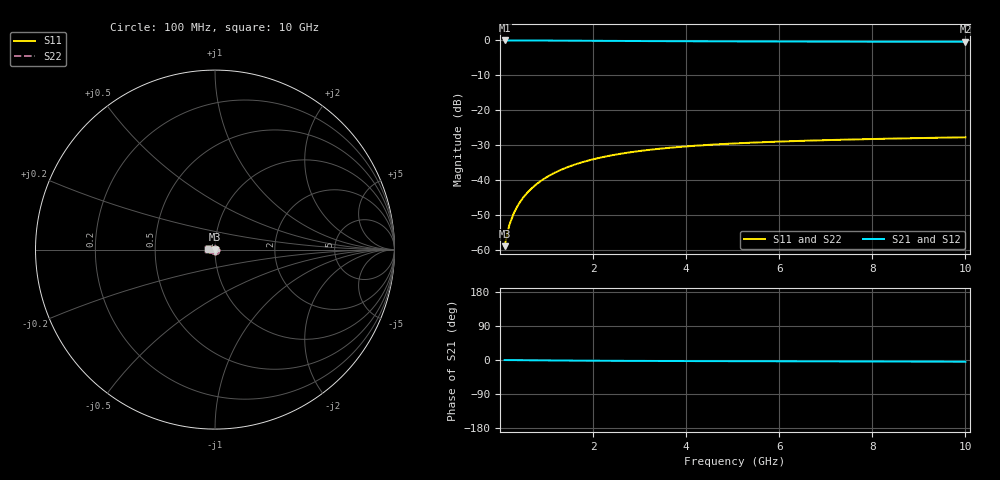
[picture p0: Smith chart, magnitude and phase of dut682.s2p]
! Touchstone file exported from HFSS 2024.1.0
!  File:  C:/UserFiles/LocalFiles/RDL_TSV_Batchsim/temp_TSV1_682_1779795424.aedt
!  Generated:  07:43:34 PM May 26, 2026
!  Design:  TSV1
!  Project:  temp_TSV1_682_1779795424
!  Setup:  Setup1
!  Solution:  Sweep
! Variables:
!  dtsv = 11.25um
!  hbump = 3um
!  htsv = 67.99um
!  lrdl = 252.1521522um
!  p = 40
!  p1 = 52.56um
!  t = 500um
!  trdl = 3um
!  wrdl = 24.89489489um
# GHz S MA R 50.000000
! Terminal data exported
! Port[1] = TSV22_T1
! Port[2] = TSV22_T2
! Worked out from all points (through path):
!   100 points, 100 MHz to 10 GHz, reference 50 ohm
!   highest |S21| = 0.00 dB at 100 MHz (marker M1); lowest = -0.4 dB at 10 GHz (marker M2)
!   lowest |S11| = -58.8 dB at 100 MHz (marker M3), VSWR 1.00, Z = 50 - j0.114 ohm
!   |S11| at or under -10 dB: start of sweep to end of sweep
!   |S22| runs from -58.8 to -27.7 dB; largest |S21 - S12| = 4.2e-15
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0.1  0.001147 -86.7  0.9999 -0.1  0.9999 -0.1  0.001147 -86.7
! Gamma 0 0 0 0
! Port Impedance 50 0 50 0
0.2  0.002287 -91.0  0.9997 -0.2  0.9997 -0.2  0.002287 -91.0
0.3  0.003427 -93.6  0.9995 -0.3  0.9995 -0.3  0.003427 -93.6
0.4  0.004562 -95.8  0.9993 -0.4  0.9993 -0.4  0.004562 -95.8
0.5  0.005689 -97.9  0.9989 -0.6  0.9989 -0.6  0.005689 -97.9
0.6  0.006802 -99.9  0.9985 -0.7  0.9985 -0.7  0.006802 -99.9
0.7  0.0079 -101.9  0.998 -0.8  0.998 -0.8  0.0079 -101.9
0.8  0.00898 -103.8  0.9975 -0.9  0.9975 -0.9  0.00898 -103.8
0.9  0.01004 -105.7  0.9969 -1.0  0.9969 -1.0  0.01004 -105.7
1.1  0.01209 -109.3  0.9957 -1.2  0.9957 -1.2  0.01209 -109.3
1.4  0.01497 -114.4  0.9935 -1.4  0.9935 -1.4  0.01497 -114.4
1.6  0.01676 -117.6  0.9919 -1.6  0.9919 -1.6  0.01676 -117.6
1.8  0.01843 -120.8  0.9903 -1.7  0.9903 -1.7  0.01843 -120.8
2.1  0.02073 -125.2  0.9878 -1.9  0.9878 -1.9  0.02073 -125.2
2.5  0.02343 -130.5  0.9845 -2.2  0.9845 -2.2  0.02343 -130.5
2.9  0.02575 -135.4  0.9814 -2.4  0.9814 -2.4  0.02575 -135.4
3.4  0.02819 -140.9  0.9778 -2.6  0.9778 -2.6  0.02819 -140.9
4.2  0.03126 -148.5  0.973 -2.9  0.973 -2.9  0.03126 -148.5
5.1  0.03385 -155.6  0.9687 -3.1  0.9687 -3.1  0.03385 -155.6
6.7  0.03709 -165.8  0.9633 -3.6  0.9633 -3.6  0.03709 -165.8
8.4  0.0395 -174.4  0.9596 -4.0  0.9596 -4.0  0.0395 -174.4
10  0.0413 178.9  0.9572 -4.5  0.9572 -4.5  0.0413 178.9
